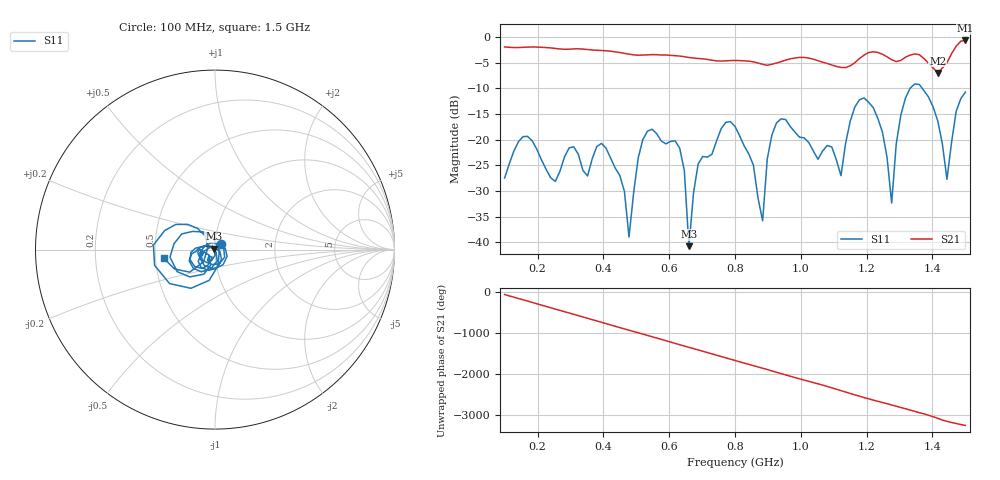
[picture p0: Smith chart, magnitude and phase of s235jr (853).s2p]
! NanoVNA-App
! Date: 2025-09-25 15:10:48
! Start: 100MHz Stop: 1,5GHz Points: 101
! S-Parameter data: F S11 S21 S12 S22
# Hz S RI R 50
!  Frequency  S11_Real  S11_Imag  S21_Real  S21_Imag  S12_Real  S12_Imag  S22_Real  S22_Imag
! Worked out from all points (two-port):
!   101 points, 100 MHz to 1.5 GHz, reference 50 ohm
!   highest |S21| = -0.70 dB at 1.5 GHz (marker M1); lowest = -7.0 dB at 1.416 GHz (marker M2)
!   |S21| within 3 dB of the highest: start of sweep to 625.2 MHz; 1.189 GHz to 1.257 GHz (67.95 MHz wide, 5.56 % of centre)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
!   lowest |S11| = -40.7 dB at 660 MHz (marker M3), VSWR 1.02, Z = 49.3 + j0.536 ohm
!   |S11| at or under -10 dB: start of sweep to 1.332 GHz; 1.369 GHz to end of sweep
!   S12 and S22 are empty: the file has one direction only
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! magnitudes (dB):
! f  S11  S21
! 100 MHz  -27.5  -2.0
! 156 MHz  -19.4  -2.0
! 338 MHz  -26.0  -2.4
! 408 MHz  -21.6  -2.7
! 478 MHz  -39.0  -3.4
! 520 MHz  -20.0  -3.6
! 576 MHz  -20.3  -3.5
! 632 MHz  -21.7  -3.7
! 660 MHz  -40.7  -4.0
! 688 MHz  -24.7  -4.2
! 800 MHz  -17.4  -4.6
! 884 MHz  -35.8  -5.3
! 926 MHz  -16.7  -5.1
! 1.038 GHz  -22.2  -4.3
! 1.122 GHz  -27.0  -6.0
! 1.192 GHz  -11.9  -3.6
! 1.248 GHz  -18.5  -3.4
! 1.276 GHz  -32.3  -4.5
! 1.332 GHz  -10.0  -3.5
! 1.416 GHz  -16.3  -7.0
! 1.444 GHz  -27.7  -5.0
! 1.5 GHz  -10.8  -0.7
